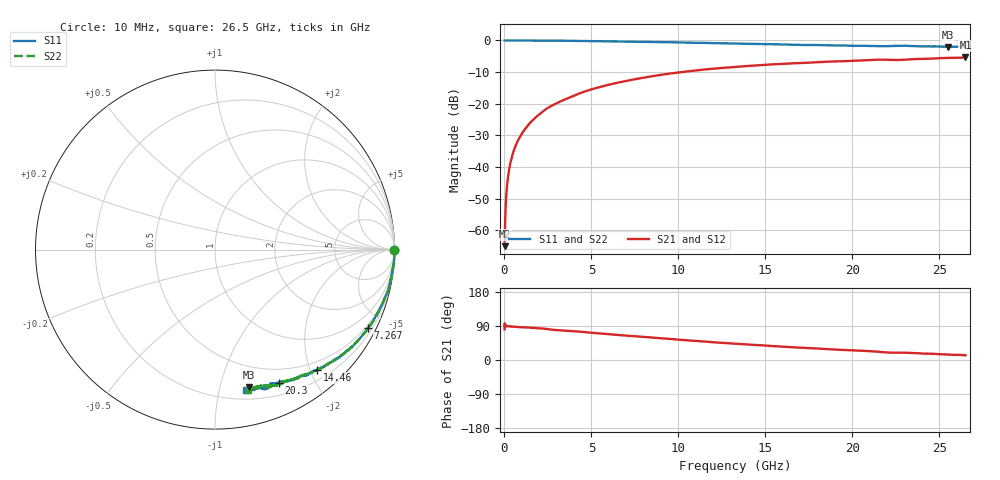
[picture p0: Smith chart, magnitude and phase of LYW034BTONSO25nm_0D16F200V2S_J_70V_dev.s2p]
!Keysight Technologies,N5222B,MY61253708,A.15.00.15
!Date: Wednesday, June 19, 2024 09:18:51
!Correction: S11(C  2-Port  )
!S21(C  2-Port  )
!S12(C  2-Port  )
!S22(C  2-Port  )
!S2P File: Measurements: S11, S21, S12, S22:
# Hz S  RI  R 50
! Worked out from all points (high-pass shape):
!   2651 points, 10 MHz to 26.5 GHz, reference 50 ohm
!   highest |S21| = -5.35 dB at 26.5 GHz (marker M1); lowest = -65.1 dB at 10 MHz (marker M2)
!   |S21| within 3 dB of the highest: 13.28 GHz to end of sweep
!   lowest |S11| = -2.1 dB at 25.5 GHz (marker M3), VSWR 8.46, Z = 15.2 - j61.6 ohm
!   |S11| at or under -10 dB: nowhere
!   |S22| runs from -2.0 to 0.0 dB; largest |S21 - S12| = 0.0069
!   S11 on the Smith chart (normalised r, x): 10 MHz: open; 7.267 GHz: 0.38, -4.11; 14.46 GHz: 0.36, -2.11; 20.3 GHz: 0.33, -1.54; 26.5 GHz: 0.28, -1.20
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1e7  0.9985 -0.00246  8.99e-05 0.000552  -1.42e-05 0.000238  0.9984 -0.000987
7.997358e7  0.9999 -0.00588  1.97e-05 0.00271  5.32e-05 0.00275  0.9994 -0.0053
1.599434e8  0.9998 -0.0117  7.62e-05 0.00543  8.26e-05 0.00547  0.9996 -0.0109
1.999283e8  0.9999 -0.014  0.000103 0.00677  8.23e-05 0.00685  0.9997 -0.0133
2.499094e8  0.9993 -0.0177  0.000156 0.00844  0.000145 0.00853  0.9993 -0.0167
3.498717e8  0.9995 -0.0245  0.000331 0.0119  0.00026 0.012  0.9994 -0.0235
4.698264e8  0.9988 -0.0329  0.000494 0.0158  0.000478 0.016  0.9984 -0.0317
6.197698e8  0.9988 -0.0426  0.000916 0.0209  0.000896 0.0211  0.9986 -0.0417
8.096981e8  0.9979 -0.0555  0.00152 0.0272  0.00148 0.0274  0.9974 -0.0541
1.43946e9  0.99 -0.0991  0.0036 0.0485  0.00368 0.0488  0.9926 -0.0953
2.329125e9  0.9808 -0.1546  0.0105 0.0793  0.0107 0.0798  0.9821 -0.1546
3.148815e9  0.9691 -0.2078  0.0214 0.1042  0.0216 0.1049  0.9706 -0.2062
4.428332e9  0.9397 -0.2853  0.0402 0.1442  0.0407 0.1451  0.9418 -0.2817
7.26726e9  0.8534 -0.4374  0.106 0.2117  0.1073 0.2126  0.8561 -0.4346
8.846664e9  0.795 -0.5075  0.1497 0.2389  0.1515 0.2396  0.7976 -0.5049
1.3255e10  0.6159 -0.6451  0.2787 0.2607  0.2812 0.2605  0.6214 -0.6428
1.446454e10  0.5696 -0.6701  0.3097 0.2567  0.3119 0.2562  0.5748 -0.6649
1.767333e10  0.4421 -0.7207  0.3843 0.2304  0.388 0.2286  0.4552 -0.7178
2.030234e10  0.3576 -0.742  0.434 0.2021  0.4376 0.1989  0.3741 -0.7429
2.209166e10  0.3077 -0.7501  0.4655 0.1669  0.4675 0.1636  0.3041 -0.7569
2.550038e10  0.1898 -0.7654  0.5133 0.1293  0.5149 0.129  0.2124 -0.7699
2.65e10  0.1711 -0.7801  0.5267 0.1183  0.5262 0.1142  0.186 -0.7797
